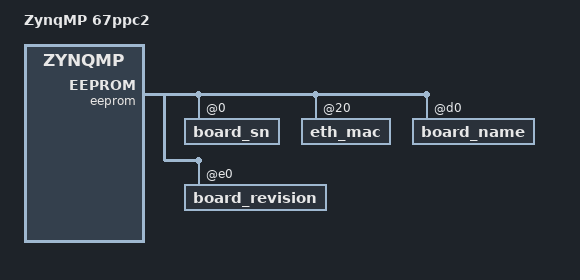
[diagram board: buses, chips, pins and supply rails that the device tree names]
/*
 * dts file for NAI ZynqMP 67G6
 *
 * (C) Copyright 2018, North Atlantics, Inc.
 *
 * NAI <nai@naii.com>
 *
 * SPDX-License-Identifier:	GPL-2.0+
 */

#include "zynqmp-67ppc2-base.dts"

/ {
	model = "ZynqMP 67ppc2";
	compatible = "nai,zynqmp-67ppc2", "xlnx,zynqmp";
};

&eeprom  {
	#address-cells = <1>;
	#size-cells = <1>;

	board_sn: board_sn@0 {
		reg = <0x0 0x14>;
	};

	eth_mac: eth_mac@20 {
		reg = <0x20 0x6>;
	};

	board_name: board_name@d0 {
		reg = <0xd0 0x6>;
        };
		board_revision: board_revision@e0 {
		reg = <0xe0 0x3>;
	};
};

